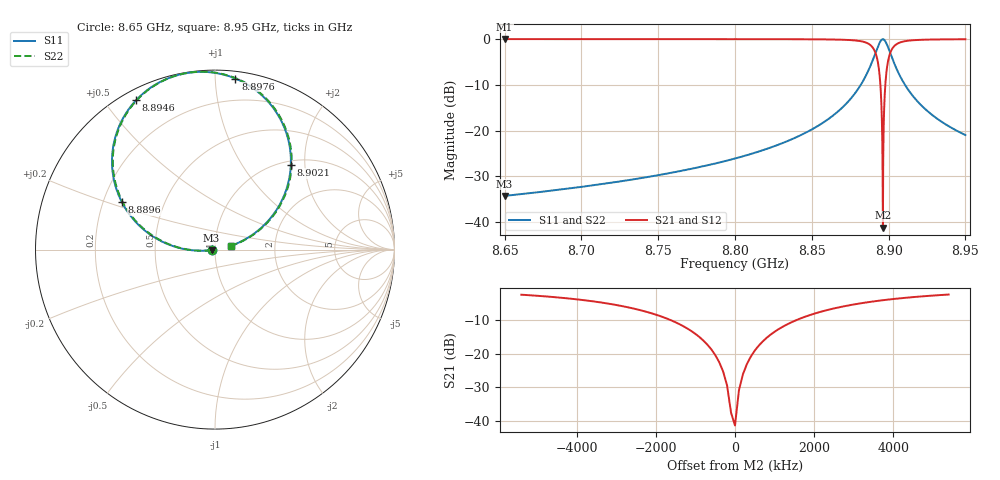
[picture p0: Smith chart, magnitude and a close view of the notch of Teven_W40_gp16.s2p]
! Sonnet Data File
! From: emgraph Version : 16.52
! From Project: transmon_trial
! Data is De-embedded
! Data File Written: 10/20/2017 09:13:07
!< HDATE 10/19/2017 20:03:37
!< MDATE 10/19/2017 20:10:25
!< PARAMS
!< Lj = 15.24
!< Gap = 16.0
!< Width = 40.0
!< Airgap = 24.0
!< Pwidth = 2000.0
!< END PARAMS
# GHZ S MA R 51.00000
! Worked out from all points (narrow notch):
!   3001 points, 8.65 GHz to 8.95 GHz, reference 51 ohm
!   highest |S21| = 0.00 dB at 8.65 GHz (marker M1); lowest = -41.2 dB at 8.8963 GHz (marker M2)
!   notch at M2: 41.2 dB deep, 902 kHz wide at half that depth
!   lowest |S11| = -34.3 dB at 8.65 GHz (marker M3), VSWR 1.04, Z = 49.1 - j0.31 ohm
!   |S11| at or under -10 dB: start of sweep to 8.8819 GHz; 8.910662 GHz to end of sweep
!   |S22| runs from -34.3 to 0.0 dB; largest |S21 - S12| = 0
!   S11 on the Smith chart (normalised r, x): 8.65 GHz: 0.96, -0.01; 8.8896 GHz: 0.28, +0.22; 8.8946 GHz: 0.04, +0.60; 8.8976 GHz: 0.05, +1.13; 8.9021 GHz: 1.07, +1.70; 8.95 GHz: 1.19, +0.05
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8.65  0.0193 -170.6  0.9998 -80.4  0.9998 -80.4  0.0193 -170.2
!< P1 F=8.65 Eeff=(6.44261619 -3.0744e-5) Z0=(50.478933 1.09474e-4) R=0.0 C=0.0
!< P2 F=8.65 Eeff=(6.44261619 -3.0744e-5) Z0=(50.478933 1.09474e-4) R=0.0 C=0.0
8.7  0.02423 -171.2  0.9997 -81.1  0.9997 -81.1  0.02423 -171.0
8.75  0.03253 -172.1  0.9995 -82.1  0.9995 -82.1  0.03253 -172.1
8.8  0.04948 -173.4  0.9988 -83.5  0.9988 -83.5  0.04948 -173.6
8.85  0.1028 -176.9  0.9947 -87.0  0.9947 -87.0  0.1028 -177.2
8.8673  0.163 179.5  0.9865 -90.7  0.9865 -90.7  0.163 179.1
8.88  0.2825 172.4  0.959 -97.8  0.959 -97.8  0.2825 171.9
8.8858  0.4162 164.1  0.9086 -106.0  0.9086 -106.0  0.4162 163.6
8.8896  0.5834 152.9  0.8107 -117.2  0.8107 -117.2  0.5834 152.4
8.8929  0.8168 133.7  0.5727 -136.3  0.5727 -136.3  0.8168 133.2
8.8939  0.8944 124.9  0.4406 -145.0  0.4406 -145.0  0.8944 124.4
8.8946  0.9418 117.8  0.3264 -151.9  0.3264 -151.9  0.9418 117.3
8.8953  0.977 110.0  0.196 -159.2  0.196 -159.2  0.977 109.5
8.8963  0.9963 98.3  0.008681 -17.1  0.008681 -17.1  0.9963 97.7
8.8976  0.96 83.2  0.2678 -7.8  0.2678 -7.8  0.9599 82.6
8.8984  0.9106 74.8  0.4058 -16.0  0.4058 -16.0  0.9106 74.2
8.9  0.787 60.9  0.6132 -29.7  0.6132 -29.7  0.787 60.3
8.9021  0.634 48.2  0.7714 -42.2  0.7714 -42.2  0.634 47.7
8.9066  0.4209 33.6  0.9064 -56.8  0.9064 -56.8  0.4209 33.1
8.9136  0.2669 24.1  0.9635 -66.2  0.9635 -66.2  0.2669 23.5
8.9289  0.1458 16.9  0.9892 -73.5  0.9892 -73.5  0.1458 16.2
8.95  0.0893 13.5  0.996 -76.9  0.996 -76.9  0.0893 12.7
